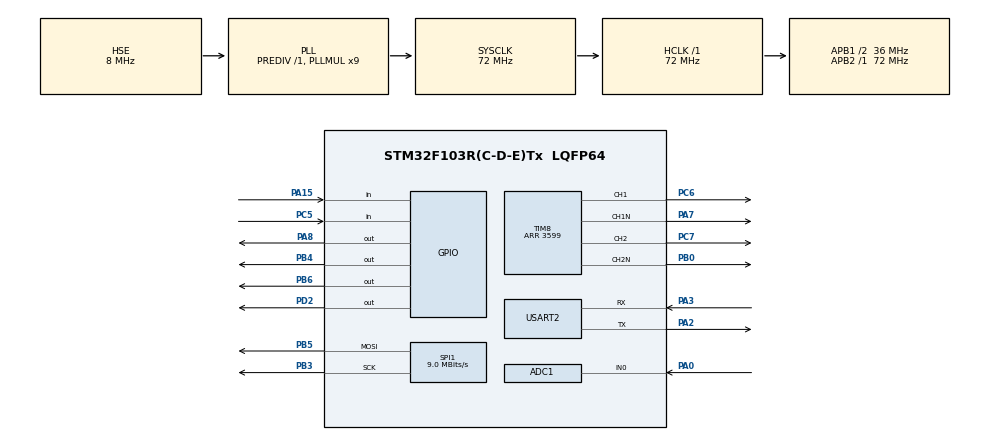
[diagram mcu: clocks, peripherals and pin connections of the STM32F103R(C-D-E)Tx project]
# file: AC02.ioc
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ADC1.Channel-0\#ChannelRegularConversion=ADC_CHANNEL_0
ADC1.ContinuousConvMode=DISABLE
ADC1.ExternalTrigConv=ADC_EXTERNALTRIGCONV_T3_TRGO
ADC1.NbrOfConversionFlag=1
ADC1.Rank-0\#ChannelRegularConversion=1
ADC1.SamplingTime-0\#ChannelRegularConversion=ADC_SAMPLETIME_1CYCLE_5
ADC1.master=1
Dma.ADC1.0.Direction=DMA_PERIPH_TO_MEMORY
Dma.ADC1.0.Instance=DMA1_Channel1
Dma.ADC1.0.MemDataAlignment=DMA_MDATAALIGN_HALFWORD
Dma.ADC1.0.MemInc=DMA_MINC_ENABLE
Dma.ADC1.0.Mode=DMA_CIRCULAR
Dma.ADC1.0.PeriphDataAlignment=DMA_PDATAALIGN_HALFWORD
Dma.ADC1.0.PeriphInc=DMA_PINC_DISABLE
Dma.ADC1.0.Priority=DMA_PRIORITY_VERY_HIGH
Dma.Request0=ADC1
Dma.Request1=USART2_RX
Dma.Request2=USART2_TX
Dma.Request3=SPI1_TX
Dma.SPI1_TX.3.Direction=DMA_MEMORY_TO_PERIPH
Dma.SPI1_TX.3.Instance=DMA1_Channel3
Dma.SPI1_TX.3.MemDataAlignment=DMA_MDATAALIGN_BYTE
Dma.SPI1_TX.3.MemInc=DMA_MINC_ENABLE
Dma.SPI1_TX.3.Mode=DMA_NORMAL
Dma.SPI1_TX.3.PeriphDataAlignment=DMA_PDATAALIGN_BYTE
Dma.SPI1_TX.3.PeriphInc=DMA_PINC_DISABLE
Dma.SPI1_TX.3.Priority=DMA_PRIORITY_LOW
Dma.USART2_RX.1.Direction=DMA_PERIPH_TO_MEMORY
Dma.USART2_RX.1.Instance=DMA1_Channel6
Dma.USART2_RX.1.MemDataAlignment=DMA_MDATAALIGN_BYTE
Dma.USART2_RX.1.MemInc=DMA_MINC_ENABLE
Dma.USART2_RX.1.Mode=DMA_CIRCULAR
Dma.USART2_RX.1.PeriphDataAlignment=DMA_PDATAALIGN_BYTE
Dma.USART2_RX.1.PeriphInc=DMA_PINC_DISABLE
Dma.USART2_RX.1.Priority=DMA_PRIORITY_LOW
Dma.USART2_TX.2.Direction=DMA_MEMORY_TO_PERIPH
Dma.USART2_TX.2.Instance=DMA1_Channel7
Dma.USART2_TX.2.MemDataAlignment=DMA_MDATAALIGN_BYTE
Dma.USART2_TX.2.MemInc=DMA_MINC_ENABLE
Dma.USART2_TX.2.Mode=DMA_NORMAL
Dma.USART2_TX.2.PeriphDataAlignment=DMA_PDATAALIGN_BYTE
Dma.USART2_TX.2.PeriphInc=DMA_PINC_DISABLE
Dma.USART2_TX.2.Priority=DMA_PRIORITY_LOW
Mcu.Family=STM32F1
Mcu.Name=STM32F103R(C-D-E)Tx
Mcu.Package=LQFP64
NVIC.DMA1_Channel1_IRQn=true\:0\:0\:false\:false\:true\:false\:true\:true
NVIC.DMA1_Channel3_IRQn=true\:0\:0\:false\:false\:true\:false\:true\:true
NVIC.DMA1_Channel6_IRQn=true\:0\:0\:false\:false\:true\:false\:true\:true
NVIC.DMA1_Channel7_IRQn=true\:0\:0\:false\:false\:true\:false\:true\:true
NVIC.PriorityGroup=NVIC_PRIORITYGROUP_4
NVIC.TIM3_IRQn=true\:0\:0\:false\:false\:true\:true\:true\:true
NVIC.TIM6_IRQn=true\:2\:0\:true\:false\:true\:true\:true\:true
NVIC.TIM7_IRQn=true\:1\:0\:true\:false\:true\:true\:true\:true
PA0-WKUP.Signal=ADCx_IN0
PA15.GPIO_PuPd=GPIO_PULLUP
PA15.Signal=GPIO_Input
PA2.Mode=Asynchronous
PA2.Signal=USART2_TX
PA3.Mode=Asynchronous
PA3.Signal=USART2_RX
PA7.Mode=PWM Generation1 CH1 CH1N
PA7.Signal=TIM8_CH1N
PA8.Signal=GPIO_Output
PB0.Mode=PWM Generation2 CH2 CH2N
PB0.Signal=TIM8_CH2N
PB3.Mode=TX_Only_Simplex_Unidirect_Master
PB3.Signal=SPI1_SCK
PB4.Signal=GPIO_Output
PB5.Mode=TX_Only_Simplex_Unidirect_Master
PB5.Signal=SPI1_MOSI
PB6.Signal=GPIO_Output
PC5.GPIO_PuPd=GPIO_PULLUP
PC5.Signal=GPIO_Input
PC6.Signal=S_TIM8_CH1
PC7.Signal=S_TIM8_CH2
PD0-OSC_IN.Mode=HSE-External-Oscillator
PD0-OSC_IN.Signal=RCC_OSC_IN
PD1-OSC_OUT.Mode=HSE-External-Oscillator
PD1-OSC_OUT.Signal=RCC_OSC_OUT
PD2.Signal=GPIO_Output
ProjectManager.HeapSize=0x200
ProjectManager.StackSize=0x400
ProjectManager.TargetToolchain=CMake
RCC.ADCPresc=RCC_ADCPCLK2_DIV6
RCC.AHBFreq_Value=72000000
RCC.APB1CLKDivider=RCC_HCLK_DIV2
RCC.APB1Freq_Value=36000000
RCC.APB1TimFreq_Value=72000000
RCC.APB2Freq_Value=72000000
RCC.APB2TimFreq_Value=72000000
RCC.HCLKFreq_Value=72000000
RCC.PLLMUL=RCC_PLL_MUL9
RCC.PLLSourceVirtual=RCC_PLLSOURCE_HSE
RCC.SYSCLKFreq_VALUE=72000000
RCC.SYSCLKSource=RCC_SYSCLKSOURCE_PLLCLK
RCC.USBFreq_Value=72000000
SH.ADCx_IN0.0=ADC1_IN0,IN0
SH.S_TIM8_CH1.0=TIM8_CH1,PWM Generation1 CH1 CH1N
SH.S_TIM8_CH2.0=TIM8_CH2,PWM Generation2 CH2 CH2N
SPI1.BaudRatePrescaler=SPI_BAUDRATEPRESCALER_8
SPI1.CalculateBaudRate=9.0 MBits/s
SPI1.Direction=SPI_DIRECTION_2LINES
SPI1.Mode=SPI_MODE_MASTER
SPI1.VirtualType=VM_MASTER
TIM3.AutoReloadPreload=TIM_AUTORELOAD_PRELOAD_ENABLE
TIM3.Period=99
TIM3.Prescaler=71
TIM3.TIM_MasterOutputTrigger=TIM_TRGO_UPDATE
TIM3.TIM_MasterSlaveMode=TIM_MASTERSLAVEMODE_DISABLE
TIM6.AutoReloadPreload=TIM_AUTORELOAD_PRELOAD_ENABLE
TIM6.Period=499
TIM6.Prescaler=7199
TIM7.AutoReloadPreload=TIM_AUTORELOAD_PRELOAD_ENABLE
TIM7.Period=49
TIM7.Prescaler=7199
TIM8.AutoReloadPreload=TIM_AUTORELOAD_PRELOAD_ENABLE
TIM8.AutomaticOutput=TIM_AUTOMATICOUTPUT_ENABLE
TIM8.BreakState=TIM_BREAK_DISABLE
TIM8.Channel-PWM\ Generation1\ CH1\ CH1N=TIM_CHANNEL_1
TIM8.Channel-PWM\ Generation2\ CH2\ CH2N=TIM_CHANNEL_2
TIM8.DeadTime=10
TIM8.OCPolarity_1=TIM_OCPOLARITY_LOW
TIM8.OCPolarity_2=TIM_OCPOLARITY_LOW
TIM8.Period=3599
USART2.VirtualMode=VM_ASYNC
VP_SYS_VS_ND.Mode=No_Debug
VP_TIM3_VS_ClockSourceINT.Mode=Internal
VP_TIM6_VS_ClockSourceINT.Mode=Enable_Timer
VP_TIM7_VS_ClockSourceINT.Mode=Enable_Timer
VP_TIM8_VS_ClockSourceINT.Mode=Internal
board=custom

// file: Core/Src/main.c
/* USER CODE BEGIN Header */
/**
  ******************************************************************************
  * @file           : main.c
  * @brief          : Main program body
  ******************************************************************************
  * @attention
  *
  * Copyright (c) 2026 STMicroelectronics.
  * All rights reserved.
  *
  * This software is licensed under terms that can be found in the LICENSE file
  * in the root directory of this software component.
  * If no LICENSE file comes with this software, it is provided AS-IS.
  *
  ******************************************************************************
  */
/* USER CODE END Header */
#include "main.h"
#include "adc.h"
#include "dma.h"
#include "spi.h"
#include "tim.h"
#include "usart.h"
#include "gpio.h"

/* USER CODE BEGIN Includes */
#include "port_pwm.h"
#include "port_adc.h"
#include "port_timer.h"
#include "port_uart.h"
#include "app_control.h"
#include "app_params.h"
#include "app_panel.h"
/* USER CODE END Includes */

void SystemClock_Config(void);

int main(void)
{

  /* MCU Configuration--------------------------------------------------------*/

  /* Reset of all peripherals, Initializes the Flash interface and the Systick. */
  HAL_Init();

  /* Configure the system clock */
  SystemClock_Config();

  /* Initialize all configured peripherals */
  MX_GPIO_Init();
  MX_DMA_Init();
  MX_TIM6_Init();
  MX_TIM8_Init();
  MX_ADC1_Init();
  MX_TIM3_Init();
  MX_TIM7_Init();
  MX_SPI1_Init();
  MX_USART2_UART_Init();
  /* USER CODE BEGIN 2 */
  uart_init();
  params_init();
  app_control_init();
  panel_init();
  adc_calibrate();
  pwm_start();
  adc_start_dma();
  timer_start_isr();
  uart_send("[INFO] AC02 Inverter started\r\n");
  /* USER CODE END 2 */

  /* Infinite loop */
  /* USER CODE BEGIN WHILE */
  while (1)
  {
    panel_main_loop();
    /* USER CODE END WHILE */

  }
}

void SystemClock_Config(void)
{
  RCC_OscInitTypeDef RCC_OscInitStruct = {0};
  RCC_ClkInitTypeDef RCC_ClkInitStruct = {0};
  RCC_PeriphCLKInitTypeDef PeriphClkInit = {0};

  /** Initializes the RCC Oscillators according to the specified parameters
  * in the RCC_OscInitTypeDef structure.
  */
  RCC_OscInitStruct.OscillatorType = RCC_OSCILLATORTYPE_HSE;
  RCC_OscInitStruct.HSEState = RCC_HSE_ON;
  RCC_OscInitStruct.HSEPredivValue = RCC_HSE_PREDIV_DIV1;
  RCC_OscInitStruct.HSIState = RCC_HSI_ON;
  RCC_OscInitStruct.PLL.PLLState = RCC_PLL_ON;
  RCC_OscInitStruct.PLL.PLLSource = RCC_PLLSOURCE_HSE;
  RCC_OscInitStruct.PLL.PLLMUL = RCC_PLL_MUL9;
  if (HAL_RCC_OscConfig(&RCC_OscInitStruct) != HAL_OK)
  {
    Error_Handler();
  }

  /** Initializes the CPU, AHB and APB buses clocks
  */
  RCC_ClkInitStruct.ClockType = RCC_CLOCKTYPE_HCLK|RCC_CLOCKTYPE_SYSCLK
                              |RCC_CLOCKTYPE_PCLK1|RCC_CLOCKTYPE_PCLK2;
  RCC_ClkInitStruct.SYSCLKSource = RCC_SYSCLKSOURCE_PLLCLK;
  RCC_ClkInitStruct.AHBCLKDivider = RCC_SYSCLK_DIV1;
  RCC_ClkInitStruct.APB1CLKDivider = RCC_HCLK_DIV2;
  RCC_ClkInitStruct.APB2CLKDivider = RCC_HCLK_DIV1;

  if (HAL_RCC_ClockConfig(&RCC_ClkInitStruct, FLASH_LATENCY_2) != HAL_OK)
  {
    Error_Handler();
  }
  PeriphClkInit.PeriphClockSelection = RCC_PERIPHCLK_ADC;
  PeriphClkInit.AdcClockSelection = RCC_ADCPCLK2_DIV6;
  if (HAL_RCCEx_PeriphCLKConfig(&PeriphClkInit) != HAL_OK)
  {
    Error_Handler();
  }
}

void Error_Handler(void)
{
  __disable_irq();
  while (1)
  {
  }
}
